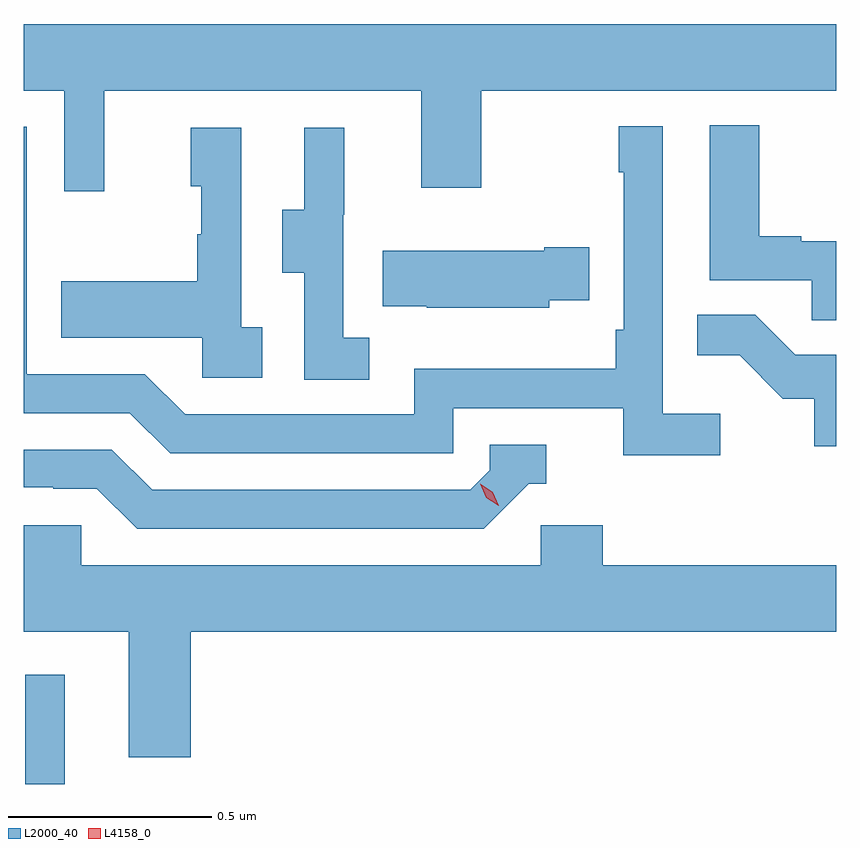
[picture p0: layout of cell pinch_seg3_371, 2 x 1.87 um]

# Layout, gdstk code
import gdstk
lib = gdstk.Library(unit=1e-6, precision=1e-09)
def R(c, l, rs):  # rectangles x0, y0, x1, y1
    for r in rs: c.add(gdstk.rectangle(r[:2], r[2:], *l))
def P(c, l, *ps):  # polygons
    for p in ps: c.add(gdstk.Polygon(p, *l))
L2000_40 = (2000, 40)
L4158_0 = (4158, 0)

pinch_seg3_371 = lib.new_cell('pinch_seg3_371')
R(pinch_seg3_371, L2000_40, [(960.434,700.541,960.532,700.81)])
P(pinch_seg3_371, L2000_40, [(960.629,702.248),(961.409,702.248),(961.409,702.009),(961.557,702.009),(961.557,702.248),(962.431,702.248),(962.431,702.412),(960.431,702.412),(960.431,702.248),(960.531,702.248),(960.531,702),(960.629,702)],
  [(962.431,701.877),(962.345,701.877),(962.345,701.89),(962.242,701.89),(962.242,702.163),(962.12,702.163),(962.12,701.781),(962.371,701.781),(962.371,701.683),(962.431,701.683)],
  [(962.146,701.452),(962.004,701.452),(962.004,702.16),(961.896,702.16),(961.896,702.047),(961.908,702.047),(961.908,701.659),(961.888,701.659),(961.888,701.563),(961.392,701.563),(961.392,701.451),(960.828,701.451),(960.729,701.55),(960.438,701.55),(960.438,702.159),(960.431,702.159),(960.431,701.454),(960.692,701.454),(960.791,701.355),(961.488,701.355),(961.488,701.466),(961.907,701.466),(961.907,701.35),(962.146,701.35)],
  [(961.018,701.666),(960.966,701.666),(960.966,702.157),(960.842,702.157),(960.842,702.012),(960.868,702.012),(960.868,701.894),(960.858,701.894),(960.858,701.779),(960.523,701.779),(960.523,701.639),(960.87,701.639),(960.87,701.541),(961.018,701.541)],
  [(961.282,701.639),(961.218,701.639),(961.218,701.943),(961.22,701.943),(961.22,702.157),(961.121,702.157),(961.121,701.955),(961.067,701.955),(961.067,701.8),(961.122,701.8),(961.122,701.536),(961.282,701.536)],
  [(961.725,701.732),(961.823,701.732),(961.823,701.862),(961.712,701.862),(961.712,701.854),(961.315,701.854),(961.315,701.717),(961.423,701.717),(961.423,701.714),(961.725,701.714)],
  [(962.431,701.598),(962.33,701.598),(962.232,701.696),(962.089,701.696),(962.089,701.597),(962.193,701.597),(962.3,701.49),(962.377,701.49),(962.377,701.373),(962.431,701.373)],
  [(961.674,701.28),(961.717,701.28),(961.717,701.376),(961.578,701.376),(961.578,701.313),(961.53,701.265),(960.747,701.265),(960.648,701.364),(960.431,701.364),(960.431,701.271),(960.504,701.271),(960.504,701.268),(960.611,701.268),(960.71,701.169),(961.563,701.169)],
  [(960.842,700.916),(962.431,700.916),(962.431,701.08),(961.856,701.08),(961.856,701.178),(961.704,701.178),(961.704,701.08),(960.573,701.08),(960.573,701.178),(960.431,701.178),(960.431,700.916),(960.689,700.916),(960.689,700.607),(960.842,700.607)])
P(pinch_seg3_371, L4158_0, [(961.6,701.226),(961.57,701.246),(961.555,701.28),(961.555,701.28),(961.555,701.28),(961.585,701.259),(961.6,701.226),(961.6,701.226)])

lib.write_gds('pinch_seg3_371.gds')
